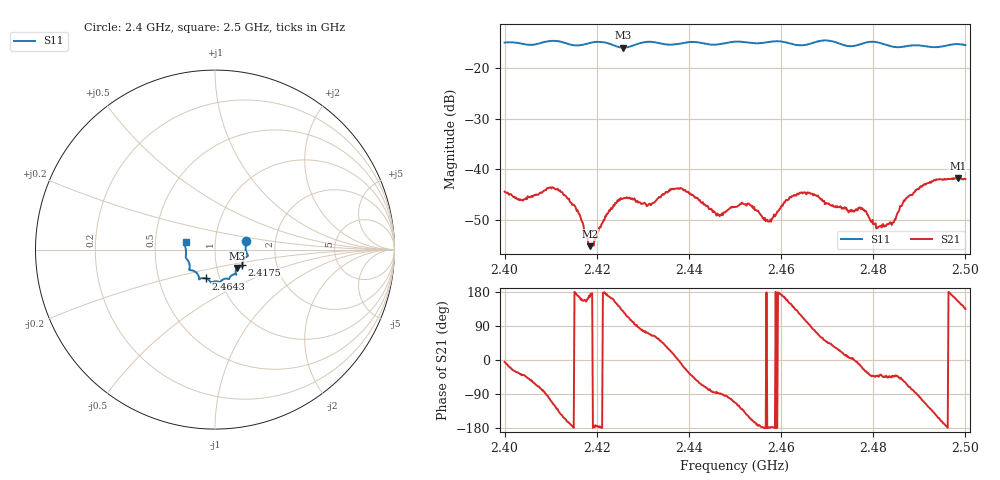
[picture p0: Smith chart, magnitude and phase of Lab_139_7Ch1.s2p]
# Hz S RI R 50
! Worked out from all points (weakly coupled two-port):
!   601 points, 2.4 GHz to 2.5 GHz, reference 50 ohm
!   highest |S21| = -41.69 dB at 2.4983 GHz (marker M1); lowest = -55.2 dB at 2.4185 GHz (marker M2)
!   lowest |S11| = -15.9 dB at 2.4257 GHz (marker M3), VSWR 1.38, Z = 62.5 - j13.1 ohm
!   |S11| at or under -10 dB: start of sweep to end of sweep
!   S12 and S22 are empty: the file has one direction only
!   S11 on the Smith chart (normalised r, x): 2.4 GHz: 1.41, +0.14; 2.4175 GHz: 1.34, -0.23; 2.4643 GHz: 0.86, -0.29; 2.5 GHz: 0.72, +0.06
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2.4e9  0.1729 0.0487  0.00601 -0.00051  0 0  0 0
2.403833e9  0.1726 0.0269  0.00391 -0.00312  0 0  0 0
2.411e9  0.1829 -0.0353  -0.00349 -0.00532  0 0  0 0
2.416667e9  0.1528 -0.0739  -0.00298 0.000992  0 0  0 0
2.4175e9  0.1519 -0.0832  -0.00216 0.000891  0 0  0 0
2.4185e9  0.1526 -0.0916  -0.00169 0.000413  0 0  0 0
2.425667e9  0.1231 -0.102  -0.00329 0.00398  0 0  0 0
2.431333e9  0.1188 -0.1387  0.00162 0.00424  0 0  0 0
2.433333e9  0.1131 -0.1372  0.00286 0.00436  0 0  0 0
2.438167e9  0.0821 -0.1551  0.00652 -0.000882  0 0  0 0
2.446333e9  0.0454 -0.1659  0.000192 -0.00357  0 0  0 0
2.45e9  0.0288 -0.1808  -0.00161 -0.00393  0 0  0 0
2.453333e9  0.0151 -0.1774  -0.00399 -0.00193  0 0  0 0
2.457333e9  -0.0155 -0.1812  -0.00306 -9.76e-05  0 0  0 0
2.464333e9  -0.0498 -0.161  -0.00271 0.00524  0 0  0 0
2.466667e9  -0.0758 -0.1595  0.000469 0.00575  0 0  0 0
2.4775e9  -0.1311 -0.1156  0.00395 -0.00133  0 0  0 0
2.480833e9  -0.1433 -0.1098  0.00199 -0.00178  0 0  0 0
2.483333e9  -0.141 -0.0901  0.00205 -0.00201  0 0  0 0
2.490667e9  -0.1627 -0.0363  -0.00193 -0.00652  0 0  0 0
2.498333e9  -0.1701 0.0339  -0.0075 0.00339  0 0  0 0
2.5e9  -0.1638 0.0432  -0.00561 0.00573  0 0  0 0
